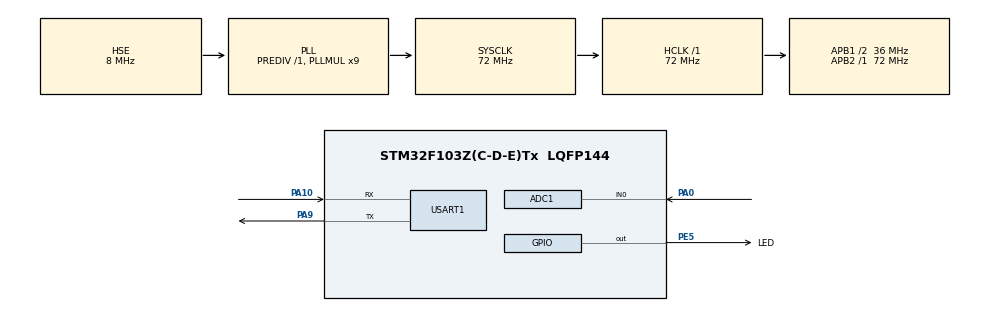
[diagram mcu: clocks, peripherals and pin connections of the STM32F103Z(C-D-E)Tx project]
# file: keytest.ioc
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ADC1.Channel-0\#ChannelRegularConversion=ADC_CHANNEL_0
ADC1.ContinuousConvMode=ENABLE
ADC1.NbrOfConversionFlag=1
ADC1.Rank-0\#ChannelRegularConversion=1
ADC1.SamplingTime-0\#ChannelRegularConversion=ADC_SAMPLETIME_1CYCLE_5
ADC1.master=1
Mcu.Family=STM32F1
Mcu.Name=STM32F103Z(C-D-E)Tx
Mcu.Package=LQFP144
NVIC.PriorityGroup=NVIC_PRIORITYGROUP_4
OSC_IN.Mode=HSE-External-Oscillator
OSC_IN.Signal=RCC_OSC_IN
OSC_OUT.Mode=HSE-External-Oscillator
OSC_OUT.Signal=RCC_OSC_OUT
PA0-WKUP.GPIO_Mode=GPIO_MODE_ANALOG
PA0-WKUP.Signal=ADCx_IN0
PA10.Mode=Asynchronous
PA10.Signal=USART1_RX
PA13.Mode=Serial_Wire
PA13.Signal=SYS_JTMS-SWDIO
PA14.Mode=Serial_Wire
PA14.Signal=SYS_JTCK-SWCLK
PA9.Mode=Asynchronous
PA9.Signal=USART1_TX
PE5.GPIO_Label=LED
PE5.Signal=GPIO_Output
ProjectManager.HeapSize=0x200
ProjectManager.StackSize=0x400
ProjectManager.TargetToolchain=MDK-ARM V5.32
RCC.ADCPresc=RCC_ADCPCLK2_DIV6
RCC.AHBFreq_Value=72000000
RCC.APB1CLKDivider=RCC_HCLK_DIV2
RCC.APB1Freq_Value=36000000
RCC.APB1TimFreq_Value=72000000
RCC.APB2Freq_Value=72000000
RCC.APB2TimFreq_Value=72000000
RCC.HCLKFreq_Value=72000000
RCC.PLLMUL=RCC_PLL_MUL9
RCC.PLLSourceVirtual=RCC_PLLSOURCE_HSE
RCC.SYSCLKFreq_VALUE=72000000
RCC.SYSCLKSource=RCC_SYSCLKSOURCE_PLLCLK
RCC.USBFreq_Value=72000000
SH.ADCx_IN0.0=ADC1_IN0,IN0
USART1.VirtualMode=VM_ASYNC
board=custom

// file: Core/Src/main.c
/* USER CODE BEGIN Header */
/**
  ******************************************************************************
  * @file           : main.c
  * @brief          : Main program body
  ******************************************************************************
  * @attention
  *
  * Copyright (c) 2025 STMicroelectronics.
  * All rights reserved.
  *
  * This software is licensed under terms that can be found in the LICENSE file
  * in the root directory of this software component.
  * If no LICENSE file comes with this software, it is provided AS-IS.
  *
  ******************************************************************************
  */
/* USER CODE END Header */
#include "main.h"
#include "adc.h"
#include "usart.h"
#include "gpio.h"

/* USER CODE BEGIN PTD */

// 全局变量
extern ADC_HandleTypeDef hadc1;
extern UART_HandleTypeDef huart1;

/* USER CODE END PTD */

/* USER CODE BEGIN PD */

// ADC读取方案
Keypad_Key_t KEYPAD_ReadADC(void)
{
    static uint32_t adc_samples[10] = {0};
    static uint8_t sample_index = 0;
    static Keypad_Key_t last_stable_key = KEY_NONE;

    uint32_t adc_value;
    Keypad_Key_t current_key = KEY_NONE;

    // 启动ADC转换
    HAL_ADC_Start(&hadc1);

    // 等待转换完成
    if(HAL_ADC_PollForConversion(&hadc1, 10) == HAL_OK)
    {
        adc_value = HAL_ADC_GetValue(&hadc1);

        // 存储采样值
        adc_samples[sample_index] = adc_value;
        sample_index = (sample_index + 1) % 10;

        // 计算平均值
        uint32_t sum = 0;
        for(int i = 0; i < 10; i++) {
            sum += adc_samples[i];
        }
        uint32_t average = sum / 10;

        // 根据ADC值判断按键
        // 注意：这些阈值需要根据实际键盘调整
        if(average < 100) current_key = KEY_NONE;
        else if(average < 300) current_key = KEY_1;
        else if(average < 550) current_key = KEY_2;
        else if(average < 800) current_key = KEY_3;
        else if(average < 1000) current_key = KEY_4;
        else if(average < 1200) current_key = KEY_5;
        else if(average < 1300) current_key = KEY_6;
        else if(average < 1450) current_key = KEY_7;
        else if(average < 1550) current_key = KEY_8;
        else if(average < 1650) current_key = KEY_9;
        else if(average < 1750) current_key = KEY_10;
        else if(average < 1900) current_key = KEY_11;
        else if(average < 2000) current_key = KEY_12;
        else current_key = KEY_INVALID;

        // 消抖处理
        static uint8_t stable_count = 0;
        static Keypad_Key_t last_key = KEY_NONE;

        if(current_key == last_key) {
            stable_count++;
            if(stable_count >= 5) { // 连续5次相同认为稳定
                last_stable_key = current_key;
                stable_count = 0;
            }
        } else {
            stable_count = 0;
            last_key = current_key;
        }
    }

    HAL_ADC_Stop(&hadc1);
    return last_stable_key;
}

/* USER CODE END PD */

/* USER CODE BEGIN PM */

// 数字信号读取方案
Keypad_Key_t KEYPAD_ReadDigital(void)
{
    static uint32_t signal_history[20] = {0};
    static uint8_t history_index = 0;
    static Keypad_Key_t last_key = KEY_NONE;

    // 读取当前信号状态
    uint32_t current_state = HAL_GPIO_ReadPin(GPIOA, GPIO_PIN_0);

    // 更新历史记录
    signal_history[history_index] = current_state;
    history_index = (history_index + 1) % 20;

    // 计算高电平比例
    uint32_t high_count = 0;
    for(int i = 0; i < 20; i++) {
        high_count += signal_history[i];
    }

    // 根据信号特征判断按键
    Keypad_Key_t detected_key = KEY_NONE;

    if(high_count == 0) {
        detected_key = KEY_NONE; // 持续低电平
    } else if(high_count == 20) {
        detected_key = KEY_12; // 持续高电平（假设为按键12）
    } else {
        // 根据脉冲模式判断具体按键
        // 这里需要根据实际键盘协议解码
        detected_key = (Keypad_Key_t)(high_count); // 简单映射
        if(detected_key > KEY_12) detected_key = KEY_INVALID;
    }

    // 按键释放检测
    static Keypad_Key_t pressed_key = KEY_NONE;

    if(detected_key != KEY_NONE && pressed_key == KEY_NONE) {
        pressed_key = detected_key;
        return detected_key;
    } else if(detected_key == KEY_NONE && pressed_key != KEY_NONE) {
        Keypad_Key_t temp = pressed_key;
        pressed_key = KEY_NONE;
        last_key = KEY_NONE;
        return KEY_NONE; // 返回NONE表示按键释放
    }

    last_key = detected_key;
    return KEY_NONE;
}

// 调试输出函数
void KEYPAD_DebugOutput(Keypad_Key_t key)
{
    char msg[50];

    switch(key) {
        case KEY_1: sprintf(msg, "Key 1 Pressed\r\n"); break;
        case KEY_2: sprintf(msg, "Key 2 Pressed\r\n"); break;
        case KEY_3: sprintf(msg, "Key 3 Pressed\r\n"); break;
        case KEY_4: sprintf(msg, "Key 4 Pressed\r\n"); break;
        case KEY_5: sprintf(msg, "Key 5 Pressed\r\n"); break;
        case KEY_6: sprintf(msg, "Key 6 Pressed\r\n"); break;
        case KEY_7: sprintf(msg, "Key 7 Pressed\r\n"); break;
        case KEY_8: sprintf(msg, "Key 8 Pressed\r\n"); break;
        case KEY_9: sprintf(msg, "Key 9 Pressed\r\n"); break;
        case KEY_10: sprintf(msg, "Key 10 Pressed\r\n"); break;
        case KEY_11: sprintf(msg, "Key 11 Pressed\r\n"); break;
        case KEY_12: sprintf(msg, "Key 12 Pressed\r\n"); break;
        case KEY_INVALID: sprintf(msg, "Invalid Key\r\n"); break;
        default: return; // KEY_NONE不输出
    }

    HAL_UART_Transmit(&huart1, (uint8_t*)msg, strlen(msg), 100);
}

// 信号分析函数（用于调试和校准）
void KEYPAD_AnalyzeSignal(void)
{
    static uint32_t last_print = 0;
    uint32_t current_time = HAL_GetTick();

    if(current_time - last_print > 500) { // 每500ms输出一次
        // ADC值
        HAL_ADC_Start(&hadc1);
        HAL_ADC_PollForConversion(&hadc1, 10);
        uint32_t adc_value = HAL_ADC_GetValue(&hadc1);
        HAL_ADC_Stop(&hadc1);

        // 数字信号
        uint32_t digital_value = HAL_GPIO_ReadPin(GPIOA, GPIO_PIN_0);

        char analysis_msg[100];
        sprintf(analysis_msg, "ADC: %lu, Digital: %lu\r\n", adc_value, digital_value);
        HAL_UART_Transmit(&huart1, (uint8_t*)analysis_msg, strlen(analysis_msg), 100);

        last_print = current_time;
    }
}

/* USER CODE END PM */

void SystemClock_Config(void);

int main(void)
{

  /* MCU Configuration--------------------------------------------------------*/

  /* Reset of all peripherals, Initializes the Flash interface and the Systick. */
  HAL_Init();

  /* Configure the system clock */
  SystemClock_Config();

  /* Initialize all configured peripherals */
  MX_GPIO_Init();
  MX_ADC1_Init();
  MX_USART1_UART_Init();
  /* USER CODE BEGIN 2 */
 // 校准ADC
    HAL_ADCEx_Calibration_Start(&hadc1);

    Keypad_Key_t last_detected_key = KEY_NONE;
  /* USER CODE END 2 */

  /* Infinite loop */
  /* USER CODE BEGIN WHILE */
  while (1)
  {
		// 方案1：使用ADC读取（推荐先尝试此方案）
        Keypad_Key_t current_key = KEYPAD_ReadADC();

        // 方案2：使用数字信号读取（如果ADC方案不工作）
        // Keypad_Key_t current_key = KEYPAD_ReadDigital();

        if(current_key != KEY_NONE && current_key != last_detected_key) {
            KEYPAD_DebugOutput(current_key);

            // 控制LED指示（可选）
            HAL_GPIO_TogglePin(GPIOC, GPIO_PIN_13);
        }

        last_detected_key = current_key;

        // 信号分析（调试用）
        KEYPAD_AnalyzeSignal();

        HAL_Delay(10);
    /* USER CODE END WHILE */

  }
}

void SystemClock_Config(void)
{
  RCC_OscInitTypeDef RCC_OscInitStruct = {0};
  RCC_ClkInitTypeDef RCC_ClkInitStruct = {0};
  RCC_PeriphCLKInitTypeDef PeriphClkInit = {0};

  /** Initializes the RCC Oscillators according to the specified parameters
  * in the RCC_OscInitTypeDef structure.
  */
  RCC_OscInitStruct.OscillatorType = RCC_OSCILLATORTYPE_HSE;
  RCC_OscInitStruct.HSEState = RCC_HSE_ON;
  RCC_OscInitStruct.HSEPredivValue = RCC_HSE_PREDIV_DIV1;
  RCC_OscInitStruct.HSIState = RCC_HSI_ON;
  RCC_OscInitStruct.PLL.PLLState = RCC_PLL_ON;
  RCC_OscInitStruct.PLL.PLLSource = RCC_PLLSOURCE_HSE;
  RCC_OscInitStruct.PLL.PLLMUL = RCC_PLL_MUL9;
  if (HAL_RCC_OscConfig(&RCC_OscInitStruct) != HAL_OK)
  {
    Error_Handler();
  }

  /** Initializes the CPU, AHB and APB buses clocks
  */
  RCC_ClkInitStruct.ClockType = RCC_CLOCKTYPE_HCLK|RCC_CLOCKTYPE_SYSCLK
                              |RCC_CLOCKTYPE_PCLK1|RCC_CLOCKTYPE_PCLK2;
  RCC_ClkInitStruct.SYSCLKSource = RCC_SYSCLKSOURCE_PLLCLK;
  RCC_ClkInitStruct.AHBCLKDivider = RCC_SYSCLK_DIV1;
  RCC_ClkInitStruct.APB1CLKDivider = RCC_HCLK_DIV2;
  RCC_ClkInitStruct.APB2CLKDivider = RCC_HCLK_DIV1;

  if (HAL_RCC_ClockConfig(&RCC_ClkInitStruct, FLASH_LATENCY_2) != HAL_OK)
  {
    Error_Handler();
  }
  PeriphClkInit.PeriphClockSelection = RCC_PERIPHCLK_ADC;
  PeriphClkInit.AdcClockSelection = RCC_ADCPCLK2_DIV6;
  if (HAL_RCCEx_PeriphCLKConfig(&PeriphClkInit) != HAL_OK)
  {
    Error_Handler();
  }
}

void Error_Handler(void)
{
  /* USER CODE BEGIN Error_Handler_Debug */
  /* User can add his own implementation to report the HAL error return state */
  __disable_irq();
  while (1)
  {
		HAL_GPIO_TogglePin(GPIOC, GPIO_PIN_13);
        HAL_Delay(100);
  }
  /* USER CODE END Error_Handler_Debug */
}
